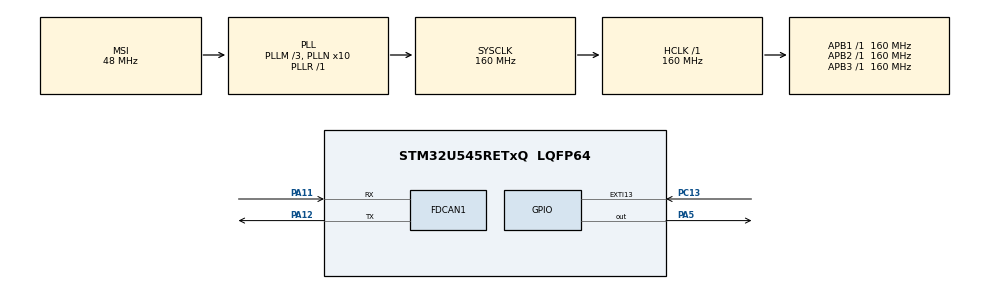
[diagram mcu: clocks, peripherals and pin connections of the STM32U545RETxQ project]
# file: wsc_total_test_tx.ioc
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CORTEX_M33_NS.userName=CORTEX_M33
FDCAN1.CalculateBaudRateNominal=500000
FDCAN1.CalculateTimeBitNominal=2000
FDCAN1.CalculateTimeQuantumNominal=200.0
FDCAN1.NominalTimeSeg1=7
FDCAN1.NominalTimeSeg2=2
Mcu.Family=STM32U5
Mcu.Name=STM32U545RETxQ
Mcu.Package=LQFP64
NUCLEO-U545RE-Q.BUTTON=1
NUCLEO-U545RE-Q.LD2=true
NUCLEO-U545RE-Q.VCP=true
NVIC.EXTI13_IRQn=true\:0\:0\:false\:false\:true\:false\:true\:true
NVIC.FDCAN1_IT0_IRQn=true\:0\:0\:false\:false\:true\:true\:true\:true
NVIC.FDCAN1_IT1_IRQn=true\:0\:0\:false\:false\:true\:true\:true\:true
NVIC.PriorityGroup=NVIC_PRIORITYGROUP_4
PA11.Mode=FDCAN_Activate
PA11.Signal=FDCAN1_RX
PA12.Mode=FDCAN_Activate
PA12.Signal=FDCAN1_TX
PA5.Signal=GPIO_Output
PC13.Signal=GPXTI13
PWR.PowerMode=PWR_SMPS_SUPPLY
ProjectManager.HeapSize=0x200
ProjectManager.StackSize=0x400
ProjectManager.TargetToolchain=STM32CubeIDE
RCC.ADCFreq_Value=16000000
RCC.AHBFreq_Value=160000000
RCC.APB1Freq_Value=160000000
RCC.APB1TimFreq_Value=160000000
RCC.APB2Freq_Value=160000000
RCC.APB2TimFreq_Value=160000000
RCC.APB3Freq_Value=160000000
RCC.CortexFreq_Value=160000000
RCC.DACCLockSelectionVirtual=RCC_DAC1CLKSOURCE_LSI
RCC.DACCLockSelectionVirtualString=RCC_DAC1CLKSOURCE_LSI
RCC.EPOD_VALUE=48000000
RCC.HCLKFreq_Value=160000000
RCC.HSE_VALUE=16000000
RCC.HSI48_VALUE=48000000
RCC.HSI_VALUE=16000000
RCC.LSE_VALUE=32768
RCC.LSIDIV_VALUE=32000
RCC.MSIClockRange=RCC_MSIRANGE_0
RCC.MSI_VALUE=48000000
RCC.PLL1R=1
RCC.PLL2FRACN=0
RCC.PLL3FRACN=0
RCC.PLLFRACN=0
RCC.PLLM=3
RCC.PLLN=10
RCC.SYSCLKFreq_VALUE=160000000
RCC.SYSCLKSource=RCC_SYSCLKSOURCE_PLLCLK
RCC.USBFreq_Value=48000000
RCC.VCOOutputFreq_Value=160000000
VP_ICACHE_VS_ICACHE.Mode=DirectMappedCache
VP_LPBAMQUEUE_VS_QUEUE.Mode=QUEUEMODE
VP_LPBAM_VS_SIG1.Mode=SmartRun
VP_LPBAM_VS_SIG4.Mode=LPDMA1
VP_MEMORYMAP_VS_MEMORYMAP.Mode=CurAppReg
VP_NUCLEO-U545RE-Q_VS_BSP_COMMON.Mode=COMMON
VP_PWR_VS_LPOM.Mode=PowerOptimisation
VP_PWR_VS_SECSignals.Mode=Security/Privilege
board=NUCLEO-U545RE-Q

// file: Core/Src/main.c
/* USER CODE BEGIN Header */
/**
  ******************************************************************************
  * @file           : main.c
  * @brief          : Main program body (FDCAN Logic Transplanted)
  ******************************************************************************
  * @attention
  *
  * Copyright (c) 2026 STMicroelectronics.
  * All rights reserved.
  *
  * This software is licensed under terms that can be found in the LICENSE file
  * in the root directory of this software component.
  * If no LICENSE file comes with this software, it is provided AS-IS.
  *
  ******************************************************************************
  */
/* USER CODE END Header */
#include "main.h"
#include "fdcan.h"
#include "icache.h"
#include "gpio.h"

/* USER CODE BEGIN Includes */
#include <string.h>
#include <stdio.h>
/* USER CODE END Includes */

COM_InitTypeDef BspCOMInit;

/* USER CODE BEGIN PV */
FDCAN_TxHeaderTypeDef TxHeader;
uint8_t TxData[8];
FDCAN_FilterTypeDef sFilterConfig;
/* USER CODE END PV */

void SystemClock_Config(void);
static void SystemPower_Config(void);
/* USER CODE BEGIN PFP */
void FDCAN_RxConfig(void);
void FDCAN_TxHeader_Config(FDCAN_TxHeaderTypeDef* TxHeader, uint32_t ID);
void FDCAN_Error_Handler(void);
/* USER CODE END PFP */

/* USER CODE BEGIN 0 */
/**
 * @brief printf 리다이렉션 (Tera Term 출력용)
 */
#ifdef __GNUC__
int _write(int file, char *ptr, int len)
{
    // Nucleo 보드 BSP의 COM1 핸들을 통해 전송
    extern UART_HandleTypeDef hcom_uart[COMn];
    HAL_UART_Transmit(&hcom_uart[COM1], (uint8_t *)ptr, len, 10);
    return len;
}
#endif
/* USER CODE END 0 */

int main(void)
{

  /* MCU Configuration--------------------------------------------------------*/

  /* Reset of all peripherals, Initializes the Flash interface and the Systick. */
  HAL_Init();

  /* Configure the System Power */
  SystemPower_Config();

  /* Configure the system clock */
  SystemClock_Config();

  /* Initialize all configured peripherals */
  MX_GPIO_Init();
  MX_ICACHE_Init();
  MX_FDCAN1_Init();
  /* USER CODE BEGIN 2 */

  /* Initialize led */
  BSP_LED_Init(LED_GREEN);

  /* Initialize USER push-button, will be used to trigger an interrupt each time it's pressed.*/
  BSP_PB_Init(BUTTON_USER, BUTTON_MODE_EXTI);

  /* Initialize COM1 port (115200, 8 bits (7-bit data + 1 stop bit), no parity */
  BspCOMInit.BaudRate   = 115200;
  BspCOMInit.WordLength = COM_WORDLENGTH_8B;
  BspCOMInit.StopBits   = COM_STOPBITS_1;
  BspCOMInit.Parity     = COM_PARITY_NONE;
  BspCOMInit.HwFlowCtl  = COM_HWCONTROL_NONE;
  if (BSP_COM_Init(COM1, &BspCOMInit) != BSP_ERROR_NONE)
  {
    Error_Handler();
  }

  /* [Transplanted Code] Start Message & FDCAN Config */
  printf("\r\n=== FDCAN Transmitter Started ===\r\n");

  /* FDCAN 설정 및 시작 (Start 명령 포함) */
  FDCAN_RxConfig();
  printf("FDCAN Initialized & Started.\r\n");

  /* USER CODE END 2 */

  /* Infinite loop */
  while (1)
  {

  }
}

void SystemClock_Config(void)
{
  RCC_OscInitTypeDef RCC_OscInitStruct = {0};
  RCC_ClkInitTypeDef RCC_ClkInitStruct = {0};

  /** Configure the main internal regulator output voltage
  */
  if (HAL_PWREx_ControlVoltageScaling(PWR_REGULATOR_VOLTAGE_SCALE1) != HAL_OK)
  {
    Error_Handler();
  }

  /** Initializes the CPU, AHB and APB buses clocks
  */
  RCC_OscInitStruct.OscillatorType = RCC_OSCILLATORTYPE_MSI;
  RCC_OscInitStruct.MSIState = RCC_MSI_ON;
  RCC_OscInitStruct.MSICalibrationValue = RCC_MSICALIBRATION_DEFAULT;
  RCC_OscInitStruct.MSIClockRange = RCC_MSIRANGE_0;
  RCC_OscInitStruct.PLL.PLLState = RCC_PLL_ON;
  RCC_OscInitStruct.PLL.PLLSource = RCC_PLLSOURCE_MSI;
  RCC_OscInitStruct.PLL.PLLMBOOST = RCC_PLLMBOOST_DIV4;
  RCC_OscInitStruct.PLL.PLLM = 3;
  RCC_OscInitStruct.PLL.PLLN = 10;
  RCC_OscInitStruct.PLL.PLLP = 2;
  RCC_OscInitStruct.PLL.PLLQ = 2;
  RCC_OscInitStruct.PLL.PLLR = 1;
  RCC_OscInitStruct.PLL.PLLRGE = RCC_PLLVCIRANGE_1;
  RCC_OscInitStruct.PLL.PLLFRACN = 0;
  if (HAL_RCC_OscConfig(&RCC_OscInitStruct) != HAL_OK)
  {
    Error_Handler();
  }

  /** Initializes the CPU, AHB and APB buses clocks
  */
  RCC_ClkInitStruct.ClockType = RCC_CLOCKTYPE_HCLK|RCC_CLOCKTYPE_SYSCLK
                              |RCC_CLOCKTYPE_PCLK1|RCC_CLOCKTYPE_PCLK2
                              |RCC_CLOCKTYPE_PCLK3;
  RCC_ClkInitStruct.SYSCLKSource = RCC_SYSCLKSOURCE_PLLCLK;
  RCC_ClkInitStruct.AHBCLKDivider = RCC_SYSCLK_DIV1;
  RCC_ClkInitStruct.APB1CLKDivider = RCC_HCLK_DIV1;
  RCC_ClkInitStruct.APB2CLKDivider = RCC_HCLK_DIV1;
  RCC_ClkInitStruct.APB3CLKDivider = RCC_HCLK_DIV1;

  if (HAL_RCC_ClockConfig(&RCC_ClkInitStruct, FLASH_LATENCY_4) != HAL_OK)
  {
    Error_Handler();
  }
}

/**
  * @brief Power Configuration
  * @retval None
  */
static void SystemPower_Config(void)
{
  /*
   * Disable the internal Pull-Up in Dead Battery pins of UCPD peripheral
   */

  /*
   * Switch to SMPS regulator instead of LDO
   */
  if (HAL_PWREx_ConfigSupply(PWR_SMPS_SUPPLY) != HAL_OK)
  {
    Error_Handler();
  }
}

/* USER CODE BEGIN 4 */

/**
  * @brief  버튼 인터럽트 콜백 (데이터 전송 로직)
  */
void BSP_PB_Callback(Button_TypeDef Button)
{
    if (Button == BUTTON_USER)
    {
        // 1. 채터링(Debounce) 방지
        static uint32_t last_tick = 0;
        if ((HAL_GetTick() - last_tick) < 200) return;
        last_tick = HAL_GetTick();

        // 2. 보낼 값 설정 (실수형 Float)
        static float sim_voltage = 100.0f;
        static float sim_speed = 0.0f;

        sim_voltage += 0.5f;
        sim_speed += 1.5f;
        if(sim_speed > 150.0f) sim_speed = 0.0f;

        /* ============================================== */
        /* 1. 전압 데이터 전송 (ID: 0x50)                 */
        /* ============================================== */
        uint8_t data1[8] = {0};

        // [핵심] Float 변수(4바이트)를 배열에 복사
        memcpy(data1, &sim_voltage, sizeof(float));

        memcpy(TxData, data1, 8);
        if (HAL_FDCAN_GetTxFifoFreeLevel(&hfdcan1) > 0)
        {
            FDCAN_TxHeader_Config(&TxHeader, 0x50); // ID: 0x50 (전압)
            if (HAL_FDCAN_AddMessageToTxFifoQ(&hfdcan1, &TxHeader, TxData) == HAL_OK)
            {
                // 디버깅용: 정수부만 출력 (printf가 float 미지원일 수 있음)
                printf("Tx1 CAN Sent (ID: 0x50) | Voltage: %d\r\n", (int)sim_voltage);
            }
        }

        /* ============================================== */
        /* 2. 속도 데이터 전송 (ID: 0x60)                 */
        /* ============================================== */
        uint8_t data2[8] = {0};

        // [핵심] Float 변수 복사
        memcpy(data2, &sim_speed, sizeof(float));

        memcpy(TxData, data2, 8);
        if (HAL_FDCAN_GetTxFifoFreeLevel(&hfdcan1) > 0)
        {
            FDCAN_TxHeader_Config(&TxHeader, 0x60); // ID: 0x60 (속도)
            if (HAL_FDCAN_AddMessageToTxFifoQ(&hfdcan1, &TxHeader, TxData) == HAL_OK)
            {
                printf("Tx2 CAN Sent (ID: 0x60) | Speed: %d\r\n", (int)sim_speed);
                BSP_LED_Toggle(LED_GREEN);
            }
        }
    }
}

/**
  * @brief  FDCAN 초기 설정 및 Start
  */
void FDCAN_RxConfig(void)
{
  /* Configure Rx filter */
  sFilterConfig.IdType = FDCAN_STANDARD_ID;
  sFilterConfig.FilterIndex = 0;
  sFilterConfig.FilterType = FDCAN_FILTER_RANGE;
  sFilterConfig.FilterConfig = FDCAN_FILTER_TO_RXFIFO0;
  sFilterConfig.FilterID1 = 0x000;
  sFilterConfig.FilterID2 = 0x7FF;

  if (HAL_FDCAN_ConfigFilter(&hfdcan1, &sFilterConfig) != HAL_OK)
  {
    Error_Handler();
  }

  if (HAL_FDCAN_ConfigGlobalFilter(&hfdcan1, FDCAN_REJECT, FDCAN_REJECT, FDCAN_FILTER_REMOTE, FDCAN_FILTER_REMOTE) != HAL_OK)
  {
    Error_Handler();
  }

  /* Start the FDCAN module */
  if (HAL_FDCAN_Start(&hfdcan1) != HAL_OK)
  {
    Error_Handler();
  }
}

/**
  * @brief  Tx Header 설정 도우미 함수
  */
void FDCAN_TxHeader_Config(FDCAN_TxHeaderTypeDef* TxHeader, uint32_t ID)
{
  TxHeader->Identifier = ID;
  TxHeader->IdType = FDCAN_STANDARD_ID;
  TxHeader->TxFrameType = FDCAN_DATA_FRAME;
  TxHeader->DataLength = FDCAN_DLC_BYTES_8;
  TxHeader->ErrorStateIndicator = FDCAN_ESI_ACTIVE;
  TxHeader->BitRateSwitch = FDCAN_BRS_OFF;
  TxHeader->FDFormat = FDCAN_CLASSIC_CAN;
  TxHeader->TxEventFifoControl = FDCAN_NO_TX_EVENTS;
  TxHeader->MessageMarker = 0;
}

void FDCAN_Error_Handler(void)
{
     if (HAL_FDCAN_Start(&hfdcan1) != HAL_OK)
     {
       Error_Handler();
     }
}

/* USER CODE END 4 */

void Error_Handler(void)
{
  __disable_irq();
  while (1)
  {
  }
}
